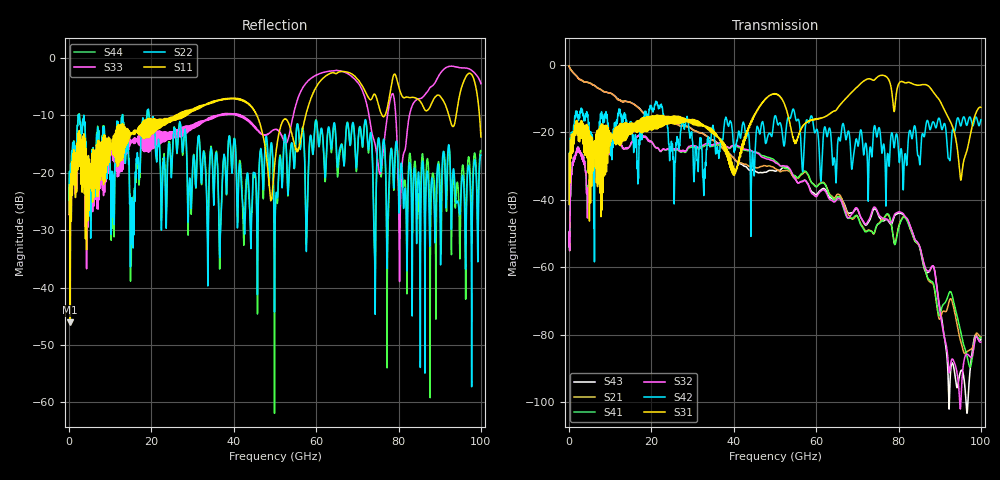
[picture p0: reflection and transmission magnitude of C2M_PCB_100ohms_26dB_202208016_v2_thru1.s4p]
! Info: Touchstone file created by Circ.  Input file=Intel_C2M_200G_11p0in_202208016_staggered.circ
# Hz S RI R 50
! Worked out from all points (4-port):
!   10000 points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, 10 MHz to 100 GHz, reference 50 ohm
!   strongest paths, dB at 10 MHz, 25.01 GHz, 50.01 GHz, 75.01 GHz, 100 GHz:
!     S31: -41.4, -15.4, -8.7, -3.4, -12.6
!     S42: -41.4, -24.3, -15.1, -19.7, -16.3
!     S32: -54.0, -24.9, -28.9, -43.9, -82.3
!     S41: -54.0, -25.1, -28.5, -47.2, -80.9
!     S21: -0.4, -16.9, -30.7, -47.2, -80.6
!     S43: -0.4, -16.9, -31.5, -44.2, -81.4
!   lowest |S11| = -46.1 dB at 290 MHz (marker M1), VSWR 1.01, Z = 49.8 + j0.46 ohm
!   |S11| at or under -10 dB: start of sweep to 25.95 GHz; 45.57 GHz to 57.49 GHz (11.91 GHz wide, 23.1 % of centre); 92.22 GHz to 94 GHz (1.787 GHz wide, 1.92 % of centre)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
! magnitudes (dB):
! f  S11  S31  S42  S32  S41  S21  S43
! 10 MHz  -27.2  -41.4  -41.4  -54.0  -54.0  -0.4  -0.4
! 290 MHz  -46.1  -23.2  -22.5  -39.5  -39.5  -1.1  -1.1
! 40.88 GHz  -7.1  -30.0  -22.0  -23.9  -24.3  -28.6  -28.8
! 78.52 GHz  -3.8  -9.5  -20.6  -46.1  -49.2  -49.3  -46.7
! 80.36 GHz  -5.8  -5.1  -27.1  -43.6  -47.0  -46.7  -44.0
! 95.17 GHz  -5.5  -34.1  -18.0  -99.2  -79.6  -82.3  -90.7
! 100 GHz  -13.8  -12.6  -16.3  -82.3  -80.9  -80.6  -81.4
